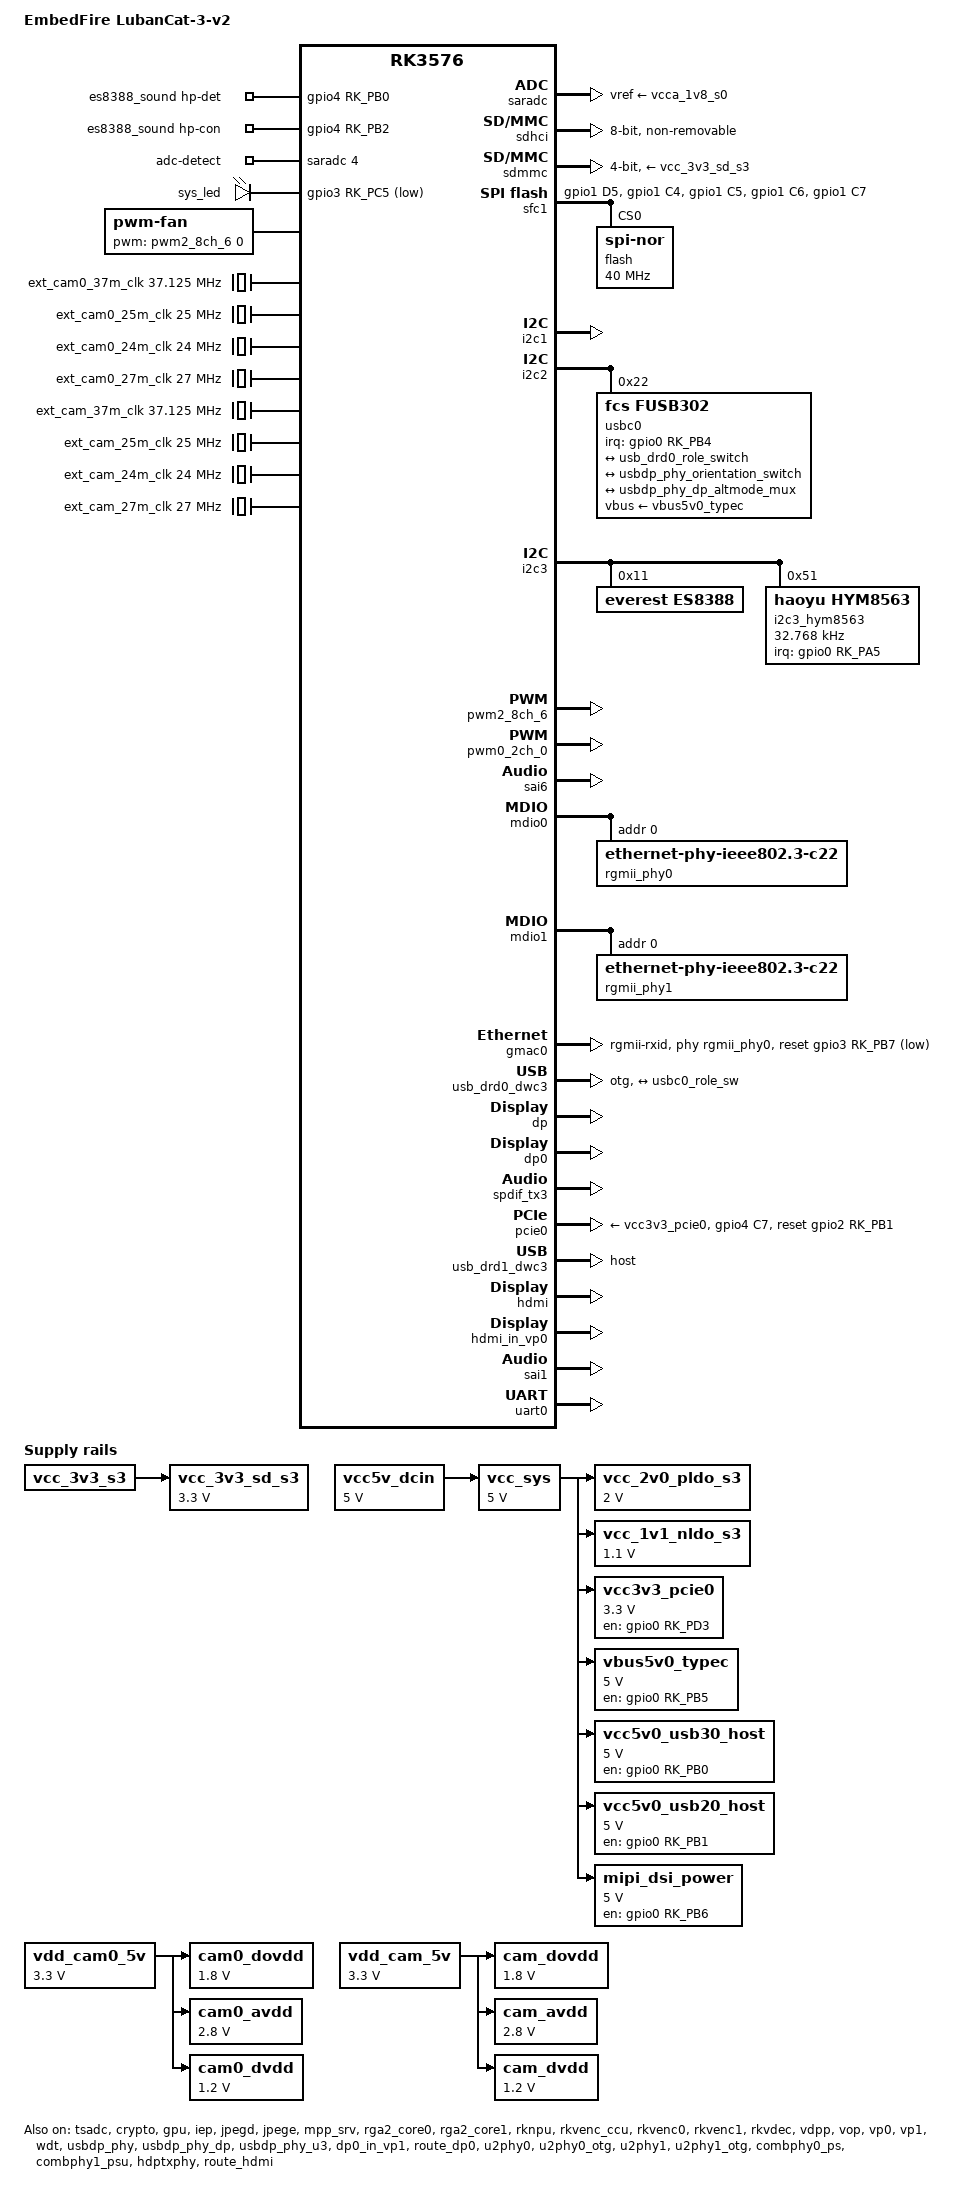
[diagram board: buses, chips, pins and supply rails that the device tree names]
// SPDX-License-Identifier: (GPL-2.0+ OR MIT)
/*
 * Copyright (c) 2026 Rockchip Electronics Co., Ltd.
 * Copyright (c) 2026 EmbedFire <embedfire@embedfire.com>
 *
 */

/dts-v1/;
#include <dt-bindings/usb/pd.h>
#include <dt-bindings/gpio/gpio.h>
#include <dt-bindings/pwm/pwm.h>
#include <dt-bindings/pinctrl/rockchip.h>
#include <dt-bindings/input/linux-event-codes.h>
#include <dt-bindings/display/drm_mipi_dsi.h>
#include <dt-bindings/display/rockchip_vop.h>
#include <dt-bindings/sensor-dev.h>
#include "rk3576.dtsi"
#include "rk3576-linux.dtsi"
#include "rk3576-rk806.dtsi"

/ {
	model = "EmbedFire LubanCat-3-v2";
	compatible = "embedfire,rk3576-lubancat-3-v2", "rockchip,rk3576";

	vcc5v_dcin: vcc5v-dcin {
		compatible = "regulator-fixed";
		regulator-name = "vcc5v_dcin";
		regulator-always-on;
		regulator-boot-on;
		regulator-min-microvolt = <5000000>;
		regulator-max-microvolt = <5000000>;
	};

	vcc_sys: vcc5v0-sys {
		compatible = "regulator-fixed";
		regulator-name = "vcc_sys";
		regulator-always-on;
		regulator-boot-on;
		regulator-min-microvolt = <5000000>;
		regulator-max-microvolt = <5000000>;
		vin-supply = <&vcc5v_dcin>;
	};

	vcc_2v0_pldo_s3: vcc-2v0-pldo-s3 {
		compatible = "regulator-fixed";
		regulator-name = "vcc_2v0_pldo_s3";
		regulator-boot-on;
		regulator-always-on;
		regulator-min-microvolt = <2000000>;
		regulator-max-microvolt = <2000000>;
		vin-supply = <&vcc_sys>;
	};

	vcc_1v1_nldo_s3: vcc-1v1-nldo-s3 {
		compatible = "regulator-fixed";
		regulator-name = "vcc_1v1_nldo_s3";
		regulator-boot-on;
		regulator-always-on;
		regulator-min-microvolt = <1100000>;
		regulator-max-microvolt = <1100000>;
		vin-supply = <&vcc_sys>;
	};

	vcc_3v3_sd_s3: vcc-3v3-sd-s3 {
		compatible = "regulator-fixed";
		regulator-name = "vcc_3v3_sd_s3";
		regulator-always-on;
		regulator-boot-on;
		regulator-min-microvolt = <3300000>;
		regulator-max-microvolt = <3300000>;
		vin-supply = <&vcc_3v3_s3>;
	};

	vcc3v3_pcie0: vcc3v3-pcie0 {
		compatible = "regulator-fixed";
		regulator-name = "vcc3v3_pcie0";
		regulator-min-microvolt = <3300000>;
		regulator-max-microvolt = <3300000>;
		enable-active-high;
		regulator-always-on;
		gpios = <&gpio0 RK_PD3 GPIO_ACTIVE_HIGH>;
		startup-delay-us = <5000>;
		vin-supply = <&vcc_sys>;
	};

	vbus5v0_typec: vbus5v0-typec {
		compatible = "regulator-fixed";
		regulator-name = "vbus5v0_typec";
		regulator-min-microvolt = <5000000>;
		regulator-max-microvolt = <5000000>;
		enable-active-high;
		gpio = <&gpio0 RK_PB5 GPIO_ACTIVE_HIGH>;
		vin-supply = <&vcc_sys>;
		pinctrl-names = "default";
		pinctrl-0 = <&typec_vbus_en>;
	};

	vcc5v0_usb30_host: vcc5v0-usb30-host {
		compatible = "regulator-fixed";
		regulator-name = "vcc5v0_usb30_host";
		regulator-min-microvolt = <5000000>;
		regulator-max-microvolt = <5000000>;
		regulator-always-on;
		regulator-boot-on;
		enable-active-high;
		gpio = <&gpio0 RK_PB0 GPIO_ACTIVE_HIGH>;
		vin-supply = <&vcc_sys>;
		pinctrl-names = "default";
		pinctrl-0 = <&usb30_host_pwr_en>;
	};

	vcc5v0_usb20_host: vcc5v0-usb20-host {
		compatible = "regulator-fixed";
		regulator-name = "vcc5v0_usb20_host";
		regulator-min-microvolt = <5000000>;
		regulator-max-microvolt = <5000000>;
		regulator-always-on;
		regulator-boot-on;
		enable-active-high;
		gpio = <&gpio0 RK_PB1 GPIO_ACTIVE_HIGH>;
		vin-supply = <&vcc_sys>;
		pinctrl-names = "default";
		pinctrl-0 = <&usb20_host_pwr_en>;
	};

	mipi_dsi_power: mipi-dsi-power {
		compatible = "regulator-fixed";
		regulator-name = "mipi_dsi_power";
		regulator-min-microvolt = <5000000>;
		regulator-max-microvolt = <5000000>;
		regulator-always-on;
		regulator-boot-on;
		enable-active-high;
		gpio = <&gpio0 RK_PB6 GPIO_ACTIVE_HIGH>;
		vin-supply = <&vcc_sys>;
		pinctrl-names = "default";
		pinctrl-0 = <&lcd_pwr_en>;
	};

	es8388_sound: es8388-sound {
		status = "okay";
		compatible = "rockchip,multicodecs-card";
		rockchip,card-name = "rockchip-es8388";
		hp-det-gpio = <&gpio4 RK_PB0 GPIO_ACTIVE_HIGH>;
		hp-con-gpio = <&gpio4 RK_PB2 GPIO_ACTIVE_HIGH>;
		io-channels = <&saradc 4>;
		io-channel-names = "adc-detect";
		keyup-threshold-microvolt = <1800000>;
		poll-interval = <100>;
		rockchip,format = "i2s";
		rockchip,mclk-fs = <256>;
		rockchip,cpu = <&sai1>;
		rockchip,codec = <&es8388>;
		rockchip,audio-routing =
			"Headphone", "LOUT1",
			"Headphone", "ROUT1",
			"Headphone", "Headphone Power",
			"Headphone", "Headphone Power",
			"LINPUT1", "Main Mic",
			"LINPUT2", "Main Mic",
			"RINPUT1", "Headset Mic",
			"RINPUT2", "Headset Mic";
		pinctrl-names = "default";
		pinctrl-0 = <&hp_det>;
		play-pause-key {
			label = "playpause";
			linux,code = <KEY_PLAYPAUSE>;
			press-threshold-microvolt = <2000>;
		};

		previous-song-key {
			label = "previoussong";
			linux,code = <KEY_PREVIOUSSONG>;
			press-threshold-microvolt = <145000>;
		};

		next-song-key {
			label = "nextsong";
			linux,code = <KEY_NEXTSONG>;
			press-threshold-microvolt = <290000>;
		};
	};

	hdmi_sound: hdmi-sound {
		compatible = "rockchip,hdmi";
		rockchip,mclk-fs = <128>;
		rockchip,card-name = "rockchip-hdmi";
		rockchip,cpu = <&sai6>;
		rockchip,codec = <&hdmi>;
		rockchip,jack-det;
	};

	dp0_sound: dp0-sound {
		compatible = "rockchip,hdmi";
		rockchip,mclk-fs = <512>;
		rockchip,card-name = "rockchip-dp0";
		rockchip,cpu = <&spdif_tx3>;
		rockchip,codec = <&dp0 1>;
		rockchip,jack-det;
	};

	leds: leds {
		status = "okay";
		compatible = "gpio-leds";

		sys_led: sys-led {
			label = "sys_led";
			linux,default-trigger = "heartbeat";
			default-state = "on";
			gpios = <&gpio3 RK_PC5 GPIO_ACTIVE_LOW>;
			pinctrl-names = "default";
			pinctrl-0 = <&sys_status_led_pin>;
		};
	};

	fan: pwm-fan {
		compatible = "pwm-fan";
		#cooling-cells = <2>;
		pwms = <&pwm2_8ch_6 0 5000 0>;
		cooling-levels = <0 100 150 200 255>;
		rockchip,temp-trips = <
			40000	1
			55000	2
			60000	3
			65000	4
		>;
	};

	test-power {
		status = "okay";
	};

	ext_cam0_37m_clk: external-camera0-37m-clock {
		compatible = "fixed-clock";
		clock-frequency = <37125000>;
		clock-output-names = "ext_cam0_37m_clk";
		#clock-cells = <0>;
	};

	ext_cam0_25m_clk: external-camera0-25m-clock {
		compatible = "fixed-clock";
		clock-frequency = <25000000>;
		clock-output-names = "ext_cam0_25m_clk";
		#clock-cells = <0>;
	};

	ext_cam0_24m_clk: external-camera0-24m-clock {
		compatible = "fixed-clock";
		#clock-cells = <0>;
		clock-frequency = <24000000>;
		clock-output-names = "ext_cam0_24m_clk";
	};

	ext_cam0_27m_clk: external-camera0-27m-clock {
		compatible = "fixed-clock";
		#clock-cells = <0>;
		clock-frequency = <27000000>;
		clock-output-names = "ext_cam0_27m_clk";
	};

	vdd_cam0_5v: vdd-cam0-5v-regulator {
		compatible = "regulator-fixed";
		regulator-name = "vdd_cam0_5v";
		regulator-always-on;
		regulator-boot-on;
		regulator-min-microvolt = <3300000>;
		regulator-max-microvolt = <3300000>;
	};

	cam0_dovdd: cam0-dovdd {
		compatible = "regulator-fixed";
		regulator-name = "cam0_dovdd";
		regulator-always-on;
		regulator-boot-on;
		regulator-min-microvolt = <1800000>;
		regulator-max-microvolt = <1800000>;
		vin-supply = <&vdd_cam0_5v>;
	};

	cam0_avdd: cam0-avdd {
		compatible = "regulator-fixed";
		regulator-name = "cam0_avdd";
		regulator-always-on;
		regulator-boot-on;
		regulator-min-microvolt = <2800000>;
		regulator-max-microvolt = <2800000>;
		vin-supply = <&vdd_cam0_5v>;
	};

	cam0_dvdd: cam0-dvdd {
		compatible = "regulator-fixed";
		regulator-name = "cam0_dvdd";
		regulator-always-on;
		regulator-boot-on;
		regulator-min-microvolt = <1200000>;
		regulator-max-microvolt = <1200000>;
		vin-supply = <&vdd_cam0_5v>;
	};

	ext_cam_37m_clk: external-camera-37m-clock {
		compatible = "fixed-clock";
		clock-frequency = <37125000>;
		clock-output-names = "ext_cam_37m_clk";
		#clock-cells = <0>;
	};

	ext_cam_25m_clk: external-camera-25m-clock {
		compatible = "fixed-clock";
		clock-frequency = <25000000>;
		clock-output-names = "ext_cam_25m_clk";
		#clock-cells = <0>;
	};

	ext_cam_24m_clk: external-camera-24m-clock {
		compatible = "fixed-clock";
		#clock-cells = <0>;
		clock-frequency = <24000000>;
		clock-output-names = "ext_cam_24m_clk";
	};

	ext_cam_27m_clk: external-camera-27m-clock {
		compatible = "fixed-clock";
		#clock-cells = <0>;
		clock-frequency = <27000000>;
		clock-output-names = "ext_cam_27m_clk";
	};

	vdd_cam_5v: vdd-cam-5v-regulator {
		compatible = "regulator-fixed";
		regulator-name = "vdd_cam_5v";
		regulator-always-on;
		regulator-boot-on;
		regulator-min-microvolt = <3300000>;
		regulator-max-microvolt = <3300000>;
	};

	cam_dovdd: cam-dovdd {
		compatible = "regulator-fixed";
		regulator-name = "cam_dovdd";
		regulator-always-on;
		regulator-boot-on;
		regulator-min-microvolt = <1800000>;
		regulator-max-microvolt = <1800000>;
		vin-supply = <&vdd_cam_5v>;
	};

	cam_avdd: cam-avdd {
		compatible = "regulator-fixed";
		regulator-name = "cam_avdd";
		regulator-always-on;
		regulator-boot-on;
		regulator-min-microvolt = <2800000>;
		regulator-max-microvolt = <2800000>;
		vin-supply = <&vdd_cam_5v>;
	};

	cam_dvdd: cam-dvdd {
		compatible = "regulator-fixed";
		regulator-name = "cam_dvdd";
		regulator-always-on;
		regulator-boot-on;
		regulator-min-microvolt = <1200000>;
		regulator-max-microvolt = <1200000>;
		vin-supply = <&vdd_cam_5v>;
	};
};

&saradc {
	status = "okay";
	vref-supply = <&vcca_1v8_s0>;
};

&tsadc {
	status = "okay";
};

&sdhci {
	bus-width = <8>;
	no-sdio;
	no-sd;
	non-removable;
	max-frequency = <200000000>;
	mmc-hs400-1_8v;
	mmc-hs400-enhanced-strobe;
	full-pwr-cycle-in-suspend;
	status = "okay";
};

&sdmmc {
	max-frequency = <200000000>;
	no-sdio;
	no-mmc;
	bus-width = <4>;
	cap-mmc-highspeed;
	cap-sd-highspeed;
	disable-wp;
	sd-uhs-sdr104;
	vmmc-supply = <&vcc_3v3_sd_s3>;
	vqmmc-supply = <&vccio_sd_s0>;
	pinctrl-names = "default";
	pinctrl-0 = <&sdmmc0_clk &sdmmc0_cmd &sdmmc0_det &sdmmc0_bus4>;
	status = "okay";
};

&sfc1 {
	status = "okay";
	pinctrl-names = "default";
	pinctrl-0 = <&fspi1m1_correct_pins &fspi1m1_csn0>;

	flash@0 {
		compatible = "jedec,spi-nor";
		reg = <0>;
		spi-max-frequency = <40000000>;
		spi-rx-bus-width = <4>;
		spi-tx-bus-width = <1>;
	};
};

&i2c1 {
	pinctrl-names = "default";
	pinctrl-0 = <&i2c1m0_xfer>;
	status = "okay";
};

&i2c2 {
	pinctrl-names = "default";
	pinctrl-0 = <&i2c2m0_xfer>;
	status = "okay";

	i2c2_hym8563: i2c2-hym8563@51 {
		compatible = "haoyu,hym8563";
		reg = <0x51>;
		#clock-cells = <0>;
		clock-frequency = <32768>;
		clock-output-names = "hym8563";
		pinctrl-names = "default";
		pinctrl-0 = <&hym8563_int>;
		interrupt-parent = <&gpio0>;
		interrupts = <RK_PA5 IRQ_TYPE_LEVEL_LOW>;
		wakeup-source;
	};

	usbc0: fusb302@22 {
		compatible = "fcs,fusb302";
		reg = <0x22>;
		interrupt-parent = <&gpio0>;
		interrupts = <RK_PB4 IRQ_TYPE_LEVEL_LOW>;
		pinctrl-names = "default";
		pinctrl-0 = <&fusb302_int>;
		vbus-supply = <&vbus5v0_typec>;
		status = "okay";

		ports {
			#address-cells = <1>;
			#size-cells = <0>;

			port@0 {
				reg = <0>;
				usbc0_role_sw: endpoint@0 {
					remote-endpoint = <&usb_drd0_role_switch>;
				};
			};
		};

		usb_con: connector {
			compatible = "usb-c-connector";
			label = "USB-C";
			data-role = "dual";
			power-role = "dual";
			try-power-role = "sink";
			op-sink-microwatt = <1000000>;
			sink-pdos =
				<PDO_FIXED(5000, 1000, PDO_FIXED_USB_COMM)>;
			source-pdos =
				<PDO_FIXED(5000, 3000, PDO_FIXED_USB_COMM)>;

			altmodes {
				#address-cells = <1>;
				#size-cells = <0>;

				altmode@0 {
					reg = <0>;
					svid = <0xff01>;
					vdo = <0xffffffff>;
				};
			};

			ports {
				#address-cells = <1>;
				#size-cells = <0>;

				port@0 {
					reg = <0>;
					usbc0_orien_sw: endpoint {
						remote-endpoint = <&usbdp_phy_orientation_switch>;
					};
				};

				port@1 {
					reg = <1>;
					dp_altmode_mux: endpoint {
						remote-endpoint = <&usbdp_phy_dp_altmode_mux>;
					};
				};
			};
		};
	};
};

&i2c3 {
	pinctrl-names = "default";
	pinctrl-0 = <&i2c3m0_xfer>;
	status = "okay";

	es8388: es8388@11 {
		status = "okay";
		#sound-dai-cells = <0>;
		compatible = "everest,es8388", "everest,es8323";
		reg = <0x11>;
		clocks = <&mclkout_sai1>;
		clock-names = "mclk";
		assigned-clocks = <&mclkout_sai1>;
		assigned-clock-rates = <12288000>;
		pinctrl-names = "default";
		pinctrl-0 = <&sai1m0_mclk>;
	};

	i2c3_hym8563: i2c3-hym8563@51 {
		compatible = "haoyu,hym8563";
		reg = <0x51>;
		#clock-cells = <0>;
		clock-frequency = <32768>;
		clock-output-names = "hym8563";
		pinctrl-names = "default";
		pinctrl-0 = <&hym8563_int>;
		interrupt-parent = <&gpio0>;
		interrupts = <RK_PA5 IRQ_TYPE_LEVEL_LOW>;
		wakeup-source;
	};

	dw9714_0: dw9714-0@c {
		status = "disabled";
		compatible = "dongwoon,dw9714";
		reg = <0xc>;
		rockchip,camera-module-index = <0>;
		rockchip,vcm-max-current = <100>;
		rockchip,vcm-start-current = <0>;
		rockchip,vcm-rated-current = <100>;
		rockchip,vcm-step-mode = <0xd>;
		rockchip,vcm-dlc-enable = <0>;
		rockchip,vcm-mclk = <0>;
		rockchip,vcm-t-src = <0>;
		rockchip,camera-module-facing = "back";
	};

	imx415_0: imx415@1a {
		compatible = "sony,imx415";
		status = "disabled";
		reg = <0x1a>;
		clocks = <&ext_cam0_37m_clk>;
		clock-names = "xvclk";
		avdd-supply = <&cam0_avdd>;
		dovdd-supply = <&cam0_dovdd>;
		dvdd-supply = <&cam0_dvdd>;
		reset-gpios = <&gpio1 RK_PD3 GPIO_ACTIVE_LOW>;

		rockchip,camera-module-index = <0>;
		rockchip,camera-module-facing = "back";
		rockchip,camera-module-name = "CMK-OT2022-PX1";
		rockchip,camera-module-lens-name = "IR0147-50IRC-8M-F20";
		port {
			imx415_out0: endpoint {
				remote-endpoint = <&dcphy0_in_imx415>;
				data-lanes = <1 2 3 4>;
			};
		};
	};

	ov5647_0: ov5647-0@36 {
		compatible = "ovti,ov5647";
		status = "disabled";
		reg = <0x36>;
		clocks = <&ext_cam0_25m_clk>;
		clock-names = "ext_cam_25m_clk";
		pwdn-gpios = <&gpio1 RK_PD2 GPIO_ACTIVE_HIGH>;
		lens-focus = <&dw9714_0>;

		port {
			ov5647_out0: endpoint {
			remote-endpoint = <&dcphy0_in_ov5647>;
			data-lanes = <1 2>;
			};
		};
	};

	ov5648_0: ov5648-0@36 {
		compatible = "ovti,ov5648";
		status = "disabled";
		reg = <0x36>;
		clocks = <&ext_cam0_24m_clk>;
		clock-names = "xvclk";
		dovdd-supply= <&cam0_dovdd>;
		avdd-supply = <&cam0_avdd>;
		dvdd-supply = <&cam0_dvdd>;
		reset-gpios = <&gpio1 RK_PD3 GPIO_ACTIVE_LOW>;
		pwdn-gpios = <&gpio1 RK_PD2 GPIO_ACTIVE_HIGH>;
		rotation = <180>;

		rockchip,camera-module-index = <0>;
		rockchip,camera-module-facing = "back";
		rockchip,camera-module-name = "THDS11073";
		rockchip,camera-module-lens-name = "Largan-40122a1";
		lens-focus = <&dw9714_0>;

		port {
			ov5648_out0: endpoint {
				remote-endpoint = <&dcphy0_in_ov5648>;
				clock-lanes = <0>;
				data-lanes = <1 2>;
			};
		};
	};

	ov8858_0: ov8858-0@36 {
		compatible = "ovti,ov8858";
		status = "disabled";
		reg = <0x36>;
		clocks = <&ext_cam0_24m_clk>;
		clock-names = "xvclk";
		dovdd-supply= <&cam0_dovdd>;
		avdd-supply = <&cam0_avdd>;
		dvdd-supply = <&cam0_dvdd>;
		reset-gpios = <&gpio1 RK_PD3 GPIO_ACTIVE_LOW>;
		pwdn-gpios = <&gpio1 RK_PD2 GPIO_ACTIVE_HIGH>;
		rotation = <180>;

		rockchip,camera-module-index = <0>;
		rockchip,camera-module-facing = "back";
		rockchip,camera-module-name = "HS5885-BNSM1018-V01";
		rockchip,camera-module-lens-name = "default";
		lens-focus = <&dw9714_0>;
		port {
			ov8858_out0: endpoint {
				remote-endpoint = <&dcphy0_in_ov8858>;
				clock-lanes = <0>;
				data-lanes = <1 2>;
			};
		};
	};

	sc530ai_0: sc530ai-0@30 {
		compatible = "smartsens,sc530ai";
		status = "disabled";
		reg = <0x30>;
		clocks = <&ext_cam0_24m_clk>;
		clock-names = "xvclk";
		reset-gpios = <&gpio1 RK_PD3 GPIO_ACTIVE_LOW>;
		pwdn-gpios = <&gpio1 RK_PD2 GPIO_ACTIVE_HIGH>;
		rockchip,camera-module-index = <0>;
		rockchip,camera-module-facing = "back";
		rockchip,camera-module-name = "CMK-OT2115-PC1";
		rockchip,camera-module-lens-name = "30IRC-F16";
		rotation = <180>;

		port {
			sc530ai_out0: endpoint {
				remote-endpoint = <&dcphy0_in_sc530ai>;
				data-lanes = <1 2 3 4>;
			};
		};
	};

	gc08a8_0: gc08a8-0@31 {
		compatible = "galaxycore,gc08a8";
		status = "disabled";
		reg = <0x31>;
		clocks = <&ext_cam0_24m_clk>;
		clock-names = "xvclk";
		dovdd-supply= <&cam0_dovdd>;
		avdd-supply = <&cam0_avdd>;
		dvdd-supply = <&cam0_dvdd>;
		reset-gpios = <&gpio1 RK_PD3 GPIO_ACTIVE_LOW>;
		pwdn-gpios = <&gpio1 RK_PD2 GPIO_ACTIVE_HIGH>;
		rockchip,camera-module-index = <0>;
		rockchip,camera-module-facing = "back";
		rockchip,camera-module-name = "YT10120";
		rockchip,camera-module-lens-name = "30IRC-4M-F20";

		port {
			gc08a8_out0: endpoint {
				remote-endpoint = <&dcphy0_in_gc08a8>;
				data-lanes = <1 2>;
			};
		};
	};

	gc2053_0: gc2053-0@37 {
		compatible = "galaxycore,gc2053";
		status = "disabled";
		reg = <0x37>;
		clocks = <&ext_cam0_24m_clk>;
		clock-names = "xvclk";
		dovdd-supply= <&cam0_dovdd>;
		avdd-supply = <&cam0_avdd>;
		dvdd-supply = <&cam0_dvdd>;
		reset-gpios = <&gpio1 RK_PD3 GPIO_ACTIVE_LOW>;
		pwdn-gpios = <&gpio1 RK_PD2 GPIO_ACTIVE_LOW>;
		rockchip,camera-module-index = <0>;
		rockchip,camera-module-facing = "back";
		rockchip,camera-module-name = "SIDA205300461";
		rockchip,camera-module-lens-name = "60IRC-F20";

		port {
			gc2053_out0: endpoint {
				remote-endpoint = <&dcphy0_in_gc2053>;
				data-lanes = <1 2>;
			};
		};
	};

	gc4653_0: gc4653-0@29 {
		compatible = "galaxycore,gc4653";
		status = "disabled";
		reg = <0x29>;
		clocks = <&ext_cam0_24m_clk>;
		clock-names = "xvclk";
		dovdd-supply= <&cam0_dovdd>;
		avdd-supply = <&cam0_avdd>;
		dvdd-supply = <&cam0_dvdd>;
		reset-gpios = <&gpio1 RK_PD3 GPIO_ACTIVE_HIGH>;
		pwdn-gpios = <&gpio1 RK_PD2 GPIO_ACTIVE_HIGH>;
		rockchip,camera-module-index = <0>;
		rockchip,camera-module-facing = "back";
		rockchip,camera-module-name = "YT10120";
		rockchip,camera-module-lens-name = "30IRC-4M-F20";

		port {
			gc4653_out0: endpoint {
				remote-endpoint = <&dcphy0_in_gc4653>;
				data-lanes = <1 2>;
			};
		};
	};
};

&pwm2_8ch_6 {
	status = "okay";
	pinctrl-0 = <&pwm2m0_ch6>;
};

&pwm0_2ch_0 {
	compatible = "rockchip,remotectl-pwm-v4";
	pinctrl-names = "default";
	pinctrl-0 = <&pwm0m0_ch0>;
	remote_pwm_id = <0>;
	handle_cpu_id = <1>;
	remote_support_psci = <0>;
	status = "okay";

	ir_key_lubancat{
		rockchip,usercode = <0xff00>;
		rockchip,key_table =
			<0xba   KEY_POWER>,
			<0xb8   KEY_MENU>,
			<0xbc   KEY_BACK>,
			<0xbb   KEY_HOME>,
			<0xea   KEY_PLAY>,
			<0xbf   KEY_VOLUMEUP>,
			<0xe6   KEY_VOLUMEDOWN>,
			<0xf6   KEY_FASTFORWARD>,
			<0xf8   KEY_FASTREVERSE>,
			<0xf2   KEY_BACKSPACE>,
			<0xf3   KEY_1>,
			<0xe7   KEY_2>,
			<0xa1   KEY_3>,
			<0xf7   KEY_4>,
			<0xe3   KEY_5>,
			<0xa5   KEY_6>,
			<0xbd   KEY_7>,
			<0xad   KEY_8>,
			<0xb5   KEY_9>,
			<0xe9   KEY_0>;
	};

	ir_key1 {
		rockchip,usercode = <0x4040>;
		rockchip,key_table =
			<0xf2	KEY_REPLY>,
			<0xba	KEY_BACK>,
			<0xf4	KEY_UP>,
			<0xf1	KEY_DOWN>,
			<0xef	KEY_LEFT>,
			<0xee	KEY_RIGHT>,
			<0xbd	KEY_HOME>,
			<0xea	KEY_VOLUMEUP>,
			<0xe3	KEY_VOLUMEDOWN>,
			<0xe2	KEY_SEARCH>,
			<0xb2	KEY_POWER>,
			<0xbc	KEY_MUTE>,
			<0xec	KEY_MENU>,
			<0xbf	0x190>,
			<0xe0	0x191>,
			<0xe1	0x192>,
			<0xe9	183>,
			<0xe6	248>,
			<0xe8	185>,
			<0xe7	186>,
			<0xf0	388>,
			<0xbe	0x175>;
	};
};

&cpu_l0 {
	cpu-supply = <&vdd_cpu_lit_s0>;
};

&cpu_b0 {
	cpu-supply = <&vdd_cpu_big_s0>;
};

&crypto {
	status = "okay";
};

&gpu {
	mali-supply = <&vdd_gpu_s0>;
	status = "okay";
};

&iep {
	status = "okay";
};

&iep_mmu {
	status = "okay";
};

&jpegd {
	status = "okay";
};

&jpege {
	status = "okay";
};

&jpeg_mmu {
	status = "okay";
};

&mpp_srv {
	status = "okay";
};

&rga2_core0 {
	status = "okay";
};

&rga2_core0_mmu {
	status = "okay";
};

&rga2_core1 {
	status = "okay";
};

&rga2_core1_mmu {
	status = "okay";
};

&rknpu {
	rknpu-supply = <&vdd_npu_s0>;
	status = "okay";
};

&rknpu_mmu {
	status = "okay";
};

&rkvenc_ccu {
	status = "okay";
};

&rkvenc0 {
	status = "okay";
};

&rkvenc0_mmu {
	status = "okay";
};

&rkvenc1 {
	status = "okay";
};

&rkvenc1_mmu {
	status = "okay";

};

&rkvdec {
	status = "okay";
};

&rkvdec_mmu {
	status = "okay";
};

&rockchip_suspend {
	status = "okay";
	rockchip,sleep-debug-en = <1>;

	rockchip,sleep-io-ret-config = <
		(0
		| RKPM_VCCIO3_RET_EN
		)
	>;

	rockchip,regulator-on-before-mem = <&vdd_npu_s0>;
};

&sai6 {
	status = "okay";
};

&vdpp {
	status = "okay";
};

&vop {
	status = "okay";
	vop-supply = <&vdd_logic_s0>;
};

&vop_mmu {
	status = "okay";
};

&vp0 {
	rockchip,plane-mask = <(1 << ROCKCHIP_VOP2_CLUSTER0 | 1 << ROCKCHIP_VOP2_ESMART0)>;
	rockchip,primary-plane = <ROCKCHIP_VOP2_ESMART0>;
	cursor-win-id = <ROCKCHIP_VOP2_CLUSTER0>;
};

&vp1 {
	rockchip,plane-mask = <(1 << ROCKCHIP_VOP2_CLUSTER1 | 1 << ROCKCHIP_VOP2_ESMART1)>;
	rockchip,primary-plane = <ROCKCHIP_VOP2_ESMART1>;
	cursor-win-id = <ROCKCHIP_VOP2_CLUSTER1>;
};

&vp2 {
	rockchip,plane-mask = <(1 << ROCKCHIP_VOP2_ESMART2 | 1 << ROCKCHIP_VOP2_ESMART3)>;
	rockchip,primary-plane = <ROCKCHIP_VOP2_ESMART2>;
	cursor-win-id = <ROCKCHIP_VOP2_ESMART3>;
};

&vp2 {
	esmart_lb_mode = /bits/ 8 <5>;
};

&mdio0 {
	rgmii_phy0: phy@0 {
		compatible = "ethernet-phy-ieee802.3-c22";
		reg = <0x0>;
		clocks = <&cru REFCLKO25M_GMAC0_OUT>;

		realtek,led-data = <0x6d60>;
	};
};

&mdio1 {
	rgmii_phy1: phy@0 {
		compatible = "ethernet-phy-ieee802.3-c22";
		reg = <0x0>;
		clocks = <&cru REFCLKO25M_GMAC1_OUT>;

		realtek,led-data = <0x6d60>;
	};
};

&gmac0 {
	phy-mode = "rgmii-rxid";
	clock_in_out = "output";

	snps,reset-gpio = <&gpio3 RK_PB7 GPIO_ACTIVE_LOW>;
	snps,reset-active-low;
	snps,reset-delays-us = <0 20000 100000>;

	pinctrl-names = "default";
	pinctrl-0 = <&eth0m0_miim
			&eth0m0_tx_bus2
			&eth0m0_rx_bus2
			&eth0m0_rgmii_clk
			&eth0m0_rgmii_bus
			&eth0m0_mclk>;

	tx_delay = <0x05>;
	rx_delay = <0x05>;

	phy-handle = <&rgmii_phy0>;
	status = "okay";
};

&gmac1 {
	phy-mode = "rgmii-rxid";
	clock_in_out = "output";

	snps,reset-gpio = <&gpio2 RK_PD6 GPIO_ACTIVE_LOW>;
	snps,reset-active-low;
	snps,reset-delays-us = <0 20000 100000>;

	pinctrl-names = "default";
	pinctrl-0 = <&eth1m0_miim
			&eth1m0_tx_bus2
			&eth1m0_rx_bus2
			&eth1m0_rgmii_clk
			&eth1m0_rgmii_bus
			&eth1m0_mclk>;

	tx_delay = <0x20>;
	rx_delay = <0x01>;

	phy-handle = <&rgmii_phy1>;
	status = "disabled";
};

&wdt {
	status = "okay";
};

&usbdp_phy {
	orientation-switch;
	svid = <0xff01>;
	sbu1-dc-gpios = <&gpio4 RK_PC4 GPIO_ACTIVE_HIGH>;
	sbu2-dc-gpios = <&gpio4 RK_PC5 GPIO_ACTIVE_HIGH>;
	status = "okay";

	port {
		#address-cells = <1>;
		#size-cells = <0>;

		usbdp_phy_orientation_switch: endpoint@0 {
			reg = <0>;
			remote-endpoint = <&usbc0_orien_sw>;
		};

		usbdp_phy_dp_altmode_mux: endpoint@1 {
			reg = <1>;
			remote-endpoint = <&dp_altmode_mux>;
		};
	};
};

&usbdp_phy_dp {
	status = "okay";
};

&usbdp_phy_u3 {
	status = "okay";
};

&usb_drd0_dwc3 {
	dr_mode = "otg";
	usb-role-switch;
	status = "okay";
	snps,parkmode-disable-hs-quirk;
	snps,parkmode-disable-ss-quirk;
	snps,dis_u3_susphy_quirk;
	snps,dis_u2_susphy_quirk;
	port {
		usb_drd0_role_switch: endpoint {
			remote-endpoint = <&usbc0_role_sw>;
		};
	};
};

&dp {
	status = "okay";
};

&dp0 {
	status = "okay";
};

&dp0_in_vp0 {
	status = "disabled";
};

&dp0_in_vp1 {
	status = "okay";
};

&dp0_in_vp2 {
	status = "disabled";
};

&vp1 {
	status = "okay";
};

&route_dp0 {
	status = "okay";
	connect = <&vp1_out_dp0>;
};

&dp0_sound {
	status = "okay";
};

&spdif_tx3 {
	status = "okay";
};

&u2phy0 {
	status = "okay";
};

&u2phy0_otg {
	rockchip,typec-vbus-det;
	status = "okay";
};

&u2phy1 {
	status = "okay";
};

&u2phy1_otg {
	phy-supply = <&vcc5v0_usb20_host>;
	dr_mode = "host";
	status = "okay";
};

&combphy0_ps {
	status = "okay";
};

&pcie0 {
	reset-gpios = <&gpio2 RK_PB1 GPIO_ACTIVE_HIGH>;
	disable-gpios = <&gpio4 RK_PC7 GPIO_ACTIVE_HIGH>;
	vpcie3v3-supply = <&vcc3v3_pcie0>;
	pinctrl-names = "default";
	pinctrl-0 = <&pcie_disable_gpio>;
	status = "okay";
};

&sata0 {
	vpcie3v3-supply = <&vcc3v3_pcie0>;
	status = "disabled";
};

&combphy1_psu {
	status = "okay";
};

&usb_drd1_dwc3 {
	dr_mode = "host";
	status = "okay";
	snps,parkmode-disable-hs-quirk;
	snps,parkmode-disable-ss-quirk;
	snps,dis_u3_susphy_quirk;
	snps,dis_u2_susphy_quirk;
};

&display_subsystem {
	clocks = <&hdptxphy>;
	clock-names = "hdmi0_phy_pll";
};

&hdmi {
	enable-gpios = <&gpio4 RK_PC6 GPIO_ACTIVE_HIGH>;
	cec-enable = "true";
	rockchip,sda-falling-delay-ns = <360>;
	status = "okay";
};

&vp0 {
	status = "okay";
};

&hdmi_in_vp0 {
	status = "okay";
};

&hdmi_in_vp1 {
	status = "disabled";
};

&hdmi_in_vp2 {
	status = "disabled";
};

&hdmi_in_vopl {
	status = "disabled";
};

&hdptxphy {
	status = "okay";
};

&route_hdmi {
	status = "okay";
	connect = <&vp0_out_hdmi>;
};

&hdmi_sound {
	status = "okay";
};

&sai1 {
	status = "okay";
	rockchip,sai-tx-route = <2 1 0 3>;
	pinctrl-names = "default";
	pinctrl-0 = <&sai1m0_lrck
			&sai1m0_sclk
			&sai1m0_sdi0
			&sai1m0_sdo2>;
};

&pinctrl {
	leds {
		sys_status_led_pin: sys-status-led-pin {
			rockchip,pins = <3 RK_PC5 RK_FUNC_GPIO &pcfg_pull_none>;
		};
	};

	hym8563 {
		hym8563_int: hym8563-int {
			rockchip,pins = <0 RK_PA5 RK_FUNC_GPIO &pcfg_pull_up>;
		};
	};

	usb-typec {
		fusb302_int: fusb302-int {
			rockchip,pins = <0 RK_PB4 RK_FUNC_GPIO &pcfg_pull_up>;
		};

		typec_vbus_en: typec-vbus-en {
			rockchip,pins = <0 RK_PB5 RK_FUNC_GPIO &pcfg_pull_none>;
		};
	};

	usb-host {
		usb30_host_pwr_en: usb30-host-pwr-en {
			rockchip,pins = <0 RK_PB0 RK_FUNC_GPIO &pcfg_pull_none>;
		};
		usb20_host_pwr_en: usb20-host-pwr-en {
			rockchip,pins = <0 RK_PB1 RK_FUNC_GPIO &pcfg_pull_none>;
		};
	};

	mipi-dsi {
		lcd_pwr_en: lcd-pwr-en {
			rockchip,pins = <0 RK_PB6 RK_FUNC_GPIO &pcfg_pull_none>;
		};
	};

	headphone {
		hp_det: hp-det {
			rockchip,pins = <4 RK_PB0 RK_FUNC_GPIO &pcfg_pull_up>;
		};
	};

	pcie {
		pcie_disable_gpio: pcie-disable-gpio {
			rockchip,pins = <4 RK_PC7 RK_FUNC_GPIO &pcfg_pull_up>;
		};
	};

	fspi1m1_correct {
		fspi1m1_correct_pins: fspi1m1-correct-pins {
			rockchip,pins =
				<1 RK_PD5 3 &pcfg_pull_none>,
				<1 RK_PC4 3 &pcfg_pull_none>,
				<1 RK_PC5 3 &pcfg_pull_none>,
				<1 RK_PC6 3 &pcfg_pull_none>,
				<1 RK_PC7 3 &pcfg_pull_none>;
		};
	};
};

&i2c2_hym8563 {
	status = "disabled";
};

&csi2_dcphy0 {
	status = "disabled";

	ports {
		#address-cells = <1>;
		#size-cells = <0>;
		port@0 {
			reg = <0>;
			#address-cells = <1>;
			#size-cells = <0>;

			dcphy0_in_imx415: endpoint@1 {
				reg = <1>;
				remote-endpoint = <&imx415_out0>;
				data-lanes = <1 2 3 4>;
			};

			dcphy0_in_ov5647: endpoint@2 {
				reg = <2>;
				remote-endpoint = <&ov5647_out0>;
				data-lanes = <1 2>;
			};

			dcphy0_in_ov5648: endpoint@3 {
				reg = <3>;
				remote-endpoint = <&ov5648_out0>;
				data-lanes = <1 2>;
			};

			dcphy0_in_ov8858: endpoint@4 {
				reg = <4>;
				remote-endpoint = <&ov8858_out0>;
				data-lanes = <1 2>;
			};

			dcphy0_in_sc530ai: endpoint@5 {
				reg = <5>;
				remote-endpoint = <&sc530ai_out0>;
				data-lanes = <1 2 3 4>;
			};

			dcphy0_in_gc08a8: endpoint@6 {
				reg = <6>;
				remote-endpoint = <&gc08a8_out0>;
				data-lanes = <1 2>;
			};

			dcphy0_in_gc2053: endpoint@7 {
				reg = <7>;
				remote-endpoint = <&gc2053_out0>;
				data-lanes = <1 2>;
			};

			dcphy0_in_gc4653: endpoint@8 {
				reg = <8>;
				remote-endpoint = <&gc4653_out0>;
				data-lanes = <1 2>;
			};
		};
		port@1 {
			reg = <1>;
			#address-cells = <1>;
			#size-cells = <0>;

			csidcphy0_out: endpoint@0 {
				reg = <0>;
				remote-endpoint = <&mipi0_csi2_input>;
			};
		};
	};
};

&csi2_dphy1 {
	status = "disabled";

	ports {
		#address-cells = <1>;
		#size-cells = <0>;
		port@0 {
			reg = <0>;
			#address-cells = <1>;
			#size-cells = <0>;

			dphy1_in_imx415: endpoint@1 {
				reg = <1>;
				remote-endpoint = <&imx415_dphy1_out>;
				data-lanes = <1 2>;
			};

			dphy1_in_ov8858: endpoint@2 {
				reg = <2>;
				remote-endpoint = <&ov8858_dphy1_out>;
				data-lanes = <1 2>;
			};

			dphy1_in_gc08a8: endpoint@3 {
				reg = <3>;
				remote-endpoint = <&gc08a8_dphy1_out>;
				data-lanes = <1 2>;
			};

			dphy1_in_gc2053: endpoint@4 {
				reg = <4>;
				remote-endpoint = <&gc2053_dphy1_out>;
				data-lanes = <1 2>;
			};

			dphy1_in_gc4653: endpoint@5 {
				reg = <5>;
				remote-endpoint = <&gc4653_dphy1_out>;
				data-lanes = <1 2>;
			};
		};
		port@1 {
			reg = <1>;
			#address-cells = <1>;
			#size-cells = <0>;

			csidphy1_out: endpoint@0 {
				reg = <0>;
				remote-endpoint = <&mipi1_csi2_input>;
			};
		};
	};
};

&csi2_dphy2 {
	status = "disabled";

	ports {
		#address-cells = <1>;
		#size-cells = <0>;
		port@0 {
			reg = <0>;
			#address-cells = <1>;
			#size-cells = <0>;

			dphy2_in_imx415: endpoint@1 {
				reg = <1>;
				remote-endpoint = <&imx415_dphy2_out>;
				data-lanes = <1 2>;
			};

			dphy2_in_ov8858: endpoint@2 {
				reg = <2>;
				remote-endpoint = <&ov8858_dphy2_out>;
				data-lanes = <1 2>;
			};

			dphy2_in_gc08a8: endpoint@3 {
				reg = <3>;
				remote-endpoint = <&gc08a8_dphy2_out>;
				data-lanes = <1 2>;
			};

			dphy2_in_gc2053: endpoint@4 {
				reg = <4>;
				remote-endpoint = <&gc2053_dphy2_out>;
				data-lanes = <1 2>;
			};

			dphy2_in_gc4653: endpoint@5 {
				reg = <5>;
				remote-endpoint = <&gc4653_dphy2_out>;
				data-lanes = <1 2>;
			};
		};
		port@1 {
			reg = <1>;
			#address-cells = <1>;
			#size-cells = <0>;

			csidphy2_out: endpoint@0 {
				reg = <0>;
				remote-endpoint = <&mipi2_csi2_input>;
			};
		};
	};
};

&csi2_dphy3 {
	status = "disabled";

	ports {
		#address-cells = <1>;
		#size-cells = <0>;
		port@0 {
			reg = <0>;
			#address-cells = <1>;
			#size-cells = <0>;

			dphy3_in_imx415: endpoint@1 {
				reg = <1>;
				remote-endpoint = <&imx415_dphy3_out>;
				data-lanes = <1 2>;
			};

			dphy3_in_ov8858: endpoint@2 {
				reg = <2>;
				remote-endpoint = <&ov8858_dphy3_out>;
				data-lanes = <1 2>;
			};

			dphy3_in_gc08a8: endpoint@3 {
				reg = <3>;
				remote-endpoint = <&gc08a8_dphy3_out>;
				data-lanes = <1 2>;
			};

			dphy3_in_gc2053: endpoint@4 {
				reg = <4>;
				remote-endpoint = <&gc2053_dphy3_out>;
				data-lanes = <1 2>;
			};

			dphy3_in_gc4653: endpoint@5 {
				reg = <5>;
				remote-endpoint = <&gc4653_dphy3_out>;
				data-lanes = <1 2>;
			};
		};
		port@1 {
			reg = <1>;
			#address-cells = <1>;
			#size-cells = <0>;

			csidphy3_out: endpoint@0 {
				reg = <0>;
				remote-endpoint = <&mipi3_csi2_input>;
			};
		};
	};
};

&csi2_dphy4 {
	status = "disabled";

	ports {
		#address-cells = <1>;
		#size-cells = <0>;
		port@0 {
			reg = <0>;
			#address-cells = <1>;
			#size-cells = <0>;

			dphy4_in_imx415: endpoint@1 {
				reg = <1>;
				remote-endpoint = <&imx415_dphy4_out>;
				data-lanes = <1 2>;
			};

			dphy4_in_ov8858: endpoint@2 {
				reg = <2>;
				remote-endpoint = <&ov8858_dphy4_out>;
				data-lanes = <1 2>;
			};

			dphy4_in_gc08a8: endpoint@3 {
				reg = <3>;
				remote-endpoint = <&gc08a8_dphy4_out>;
				data-lanes = <1 2>;
			};

			dphy4_in_gc2053: endpoint@4 {
				reg = <4>;
				remote-endpoint = <&gc2053_dphy4_out>;
				data-lanes = <1 2>;
			};

			dphy4_in_gc4653: endpoint@5 {
				reg = <5>;
				remote-endpoint = <&gc4653_dphy4_out>;
				data-lanes = <1 2>;
			};
		};
		port@1 {
			reg = <1>;
			#address-cells = <1>;
			#size-cells = <0>;

			csidphy4_out: endpoint@0 {
				reg = <0>;
				remote-endpoint = <&mipi4_csi2_input>;
			};
		};
	};
};

&i2c4 {
	status = "disabled";
	pinctrl-0 = <&i2c4m2_xfer>;

	dw9714_1: dw9714-1@c {
		status = "okay";
		compatible = "dongwoon,dw9714";
		reg = <0xc>;
		rockchip,camera-module-index = <1>;
		rockchip,vcm-max-current = <100>;
		rockchip,vcm-start-current = <0>;
		rockchip,vcm-rated-current = <100>;
		rockchip,vcm-step-mode = <0xd>;
		rockchip,vcm-dlc-enable = <0>;
		rockchip,vcm-mclk = <0>;
		rockchip,vcm-t-src = <0>;
		rockchip,camera-module-facing = "back";
	};

	dcphy1_imx415: dcphy1-imx415@1a {
		compatible = "sony,imx415";
		status = "disabled";
		reg = <0x1a>;
		clocks = <&ext_cam_37m_clk>;
		clock-names = "xvclk";
		power-domains = <&power RK3576_PD_VI>;
		avdd-supply = <&cam_avdd>;
		dovdd-supply = <&cam_dovdd>;
		dvdd-supply = <&cam_dvdd>;
		reset-gpios = <&gpio2 RK_PB3 GPIO_ACTIVE_LOW>;

		rockchip,camera-module-index = <1>;
		rockchip,camera-module-facing = "back";
		rockchip,camera-module-name = "CMK-OT2022-PX1";
		rockchip,camera-module-lens-name = "IR0147-50IRC-8M-F20";
		port {
			imx415_dphy1_out: endpoint {
				remote-endpoint = <&dphy1_in_imx415>;
				data-lanes = <1 2>;
			};
		};
	};

	ov8858_1: ov8858-1@36 {
		compatible = "ovti,ov8858";
		status = "disabled";
		reg = <0x36>;
		clocks = <&ext_cam_24m_clk>;
		clock-names = "xvclk";
		dovdd-supply= <&cam_dovdd>;
		avdd-supply = <&cam_avdd>;
		dvdd-supply = <&cam_dvdd>;
		reset-gpios = <&gpio2 RK_PB3 GPIO_ACTIVE_LOW>;
		pwdn-gpios = <&gpio2 RK_PB0 GPIO_ACTIVE_HIGH>;
		rotation = <180>;

		rockchip,camera-module-index = <1>;
		rockchip,camera-module-facing = "back";
		rockchip,camera-module-name = "HS5885-BNSM1018-V01";
		rockchip,camera-module-lens-name = "default";
		lens-focus = <&dw9714_1>;
		port {
			ov8858_dphy1_out: endpoint {
				remote-endpoint = <&dphy1_in_ov8858>;
				clock-lanes = <0>;
				data-lanes = <1 2>;
			};
		};
	};

	gc08a8_1: gc08a8-1@31 {
		compatible = "galaxycore,gc08a8";
		status = "disabled";
		reg = <0x31>;
		clocks = <&ext_cam_24m_clk>;
		clock-names = "xvclk";
		dovdd-supply= <&cam_dovdd>;
		avdd-supply = <&cam_avdd>;
		dvdd-supply = <&cam_dvdd>;
		reset-gpios = <&gpio2 RK_PB3 GPIO_ACTIVE_LOW>;
		pwdn-gpios = <&gpio2 RK_PB0 GPIO_ACTIVE_HIGH>;
		rockchip,camera-module-index = <1>;
		rockchip,camera-module-facing = "back";
		rockchip,camera-module-name = "YT10120";
		rockchip,camera-module-lens-name = "30IRC-4M-F20";

		port {
			gc08a8_dphy1_out: endpoint {
				remote-endpoint = <&dphy1_in_gc08a8>;
				data-lanes = <1 2>;
			};
		};
	};

	gc2053_1: gc2053-1@37 {
		compatible = "galaxycore,gc2053";
		status = "disabled";
		reg = <0x37>;
		clocks = <&ext_cam_24m_clk>;
		clock-names = "xvclk";
		dovdd-supply= <&cam_dovdd>;
		avdd-supply = <&cam_avdd>;
		dvdd-supply = <&cam_dvdd>;
		reset-gpios = <&gpio2 RK_PB3 GPIO_ACTIVE_LOW>;
		pwdn-gpios = <&gpio2 RK_PB0 GPIO_ACTIVE_LOW>;
		rockchip,camera-module-index = <1>;
		rockchip,camera-module-facing = "back";
		rockchip,camera-module-name = "SIDA205300461";
		rockchip,camera-module-lens-name = "60IRC-F20";

		port {
			gc2053_dphy1_out: endpoint {
				remote-endpoint = <&dphy1_in_gc2053>;
				data-lanes = <1 2>;
			};
		};
	};

	gc4653_1: gc4653-1@29 {
		compatible = "galaxycore,gc4653";
		status = "disabled";
		reg = <0x29>;
		clocks = <&ext_cam_24m_clk>;
		clock-names = "xvclk";
		dovdd-supply= <&cam_dovdd>;
		avdd-supply = <&cam_avdd>;
		dvdd-supply = <&cam_dvdd>;
		reset-gpios = <&gpio2 RK_PB3 GPIO_ACTIVE_HIGH>;
		pwdn-gpios = <&gpio2 RK_PB0 GPIO_ACTIVE_HIGH>;
		rockchip,camera-module-index = <1>;
		rockchip,camera-module-facing = "back";
		rockchip,camera-module-name = "YT10120";
		rockchip,camera-module-lens-name = "30IRC-4M-F20";

		port {
			gc4653_dphy1_out: endpoint {
				remote-endpoint = <&dphy1_in_gc4653>;
				data-lanes = <1 2>;
			};
		};
	};
};

&i2c5 {
	status = "disabled";
	pinctrl-0 = <&i2c5m3_xfer>;

	dw9714_2: dw9714-2@c {
		status = "okay";
		compatible = "dongwoon,dw9714";
		reg = <0xc>;
		rockchip,camera-module-index = <2>;
		rockchip,vcm-max-current = <100>;
		rockchip,vcm-start-current = <0>;
		rockchip,vcm-rated-current = <100>;
		rockchip,vcm-step-mode = <0xd>;
		rockchip,vcm-dlc-enable = <0>;
		rockchip,vcm-mclk = <0>;
		rockchip,vcm-t-src = <0>;
		rockchip,camera-module-facing = "back";
	};

	dcphy2_imx415: dcphy2-imx415@1a {
		compatible = "sony,imx415";
		status = "disabled";
		reg = <0x1a>;
		clocks = <&ext_cam_37m_clk>;
		clock-names = "xvclk";
		power-domains = <&power RK3576_PD_VI>;
		avdd-supply = <&cam_avdd>;
		dovdd-supply = <&cam_dovdd>;
		dvdd-supply = <&cam_dvdd>;
		reset-gpios = <&gpio2 RK_PB5 GPIO_ACTIVE_LOW>;

		rockchip,camera-module-index = <2>;
		rockchip,camera-module-facing = "back";
		rockchip,camera-module-name = "CMK-OT2022-PX1";
		rockchip,camera-module-lens-name = "IR0147-50IRC-8M-F20";
		port {
			imx415_dphy2_out: endpoint {
				remote-endpoint = <&dphy2_in_imx415>;
				data-lanes = <1 2>;
			};
		};
	};

	ov8858_2: ov8858-2@36 {
		compatible = "ovti,ov8858";
		status = "disabled";
		reg = <0x36>;
		clocks = <&ext_cam_24m_clk>;
		clock-names = "xvclk";
		dovdd-supply= <&cam_dovdd>;
		avdd-supply = <&cam_avdd>;
		dvdd-supply = <&cam_dvdd>;
		reset-gpios = <&gpio2 RK_PB5 GPIO_ACTIVE_LOW>;
		pwdn-gpios = <&gpio2 RK_PB4 GPIO_ACTIVE_HIGH>;
		rotation = <180>;

		rockchip,camera-module-index = <2>;
		rockchip,camera-module-facing = "back";
		rockchip,camera-module-name = "HS5885-BNSM1018-V01";
		rockchip,camera-module-lens-name = "default";
		lens-focus = <&dw9714_2>;
		port {
			ov8858_dphy2_out: endpoint {
				remote-endpoint = <&dphy2_in_ov8858>;
				clock-lanes = <0>;
				data-lanes = <1 2>;
			};
		};
	};

	gc08a8_2: gc08a8-2@31 {
		compatible = "galaxycore,gc08a8";
		status = "disabled";
		reg = <0x31>;
		clocks = <&ext_cam_24m_clk>;
		clock-names = "xvclk";
		dovdd-supply= <&cam_dovdd>;
		avdd-supply = <&cam_avdd>;
		dvdd-supply = <&cam_dvdd>;
		reset-gpios = <&gpio2 RK_PB5 GPIO_ACTIVE_LOW>;
		pwdn-gpios = <&gpio2 RK_PB4 GPIO_ACTIVE_HIGH>;
		rockchip,camera-module-index = <2>;
		rockchip,camera-module-facing = "back";
		rockchip,camera-module-name = "YT10120";
		rockchip,camera-module-lens-name = "30IRC-4M-F20";

		port {
			gc08a8_dphy2_out: endpoint {
				remote-endpoint = <&dphy2_in_gc08a8>;
				data-lanes = <1 2>;
			};
		};
	};

	gc2053_2: gc2053-2@37 {
		compatible = "galaxycore,gc2053";
		status = "disabled";
		reg = <0x37>;
		clocks = <&ext_cam_24m_clk>;
		clock-names = "xvclk";
		dovdd-supply= <&cam_dovdd>;
		avdd-supply = <&cam_avdd>;
		dvdd-supply = <&cam_dvdd>;
		reset-gpios = <&gpio2 RK_PB5 GPIO_ACTIVE_LOW>;
		pwdn-gpios = <&gpio2 RK_PB4 GPIO_ACTIVE_LOW>;
		rockchip,camera-module-index = <2>;
		rockchip,camera-module-facing = "back";
		rockchip,camera-module-name = "SIDA205300461";
		rockchip,camera-module-lens-name = "60IRC-F20";

		port {
			gc2053_dphy2_out: endpoint {
				remote-endpoint = <&dphy2_in_gc2053>;
				data-lanes = <1 2>;
			};
		};
	};

	gc4653_2: gc4653-2@29 {
		compatible = "galaxycore,gc4653";
		status = "disabled";
		reg = <0x29>;
		clocks = <&ext_cam_24m_clk>;
		clock-names = "xvclk";
		dovdd-supply= <&cam_dovdd>;
		avdd-supply = <&cam_avdd>;
		dvdd-supply = <&cam_dvdd>;
		reset-gpios = <&gpio2 RK_PB5 GPIO_ACTIVE_HIGH>;
		pwdn-gpios = <&gpio2 RK_PB4 GPIO_ACTIVE_HIGH>;
		rockchip,camera-module-index = <2>;
		rockchip,camera-module-facing = "back";
		rockchip,camera-module-name = "YT10120";
		rockchip,camera-module-lens-name = "30IRC-4M-F20";

		port {
			gc4653_dphy2_out: endpoint {
				remote-endpoint = <&dphy2_in_gc4653>;
				data-lanes = <1 2>;
			};
		};
	};
};

&i2c7 {
	status = "disabled";
	pinctrl-0 = <&i2c7m1_xfer>;

	dw9714_3: dw9714-3@c {
		status = "okay";
		compatible = "dongwoon,dw9714";
		reg = <0xc>;
		rockchip,camera-module-index = <3>;
		rockchip,vcm-max-current = <100>;
		rockchip,vcm-start-current = <0>;
		rockchip,vcm-rated-current = <100>;
		rockchip,vcm-step-mode = <0xd>;
		rockchip,vcm-dlc-enable = <0>;
		rockchip,vcm-mclk = <0>;
		rockchip,vcm-t-src = <0>;
		rockchip,camera-module-facing = "back";
	};

	dcphy3_imx415: dcphy3-imx415@1a {
		compatible = "sony,imx415";
		status = "disabled";
		reg = <0x1a>;
		clocks = <&ext_cam_37m_clk>;
		clock-names = "xvclk";
		power-domains = <&power RK3576_PD_VI>;
		avdd-supply = <&cam_avdd>;
		dovdd-supply = <&cam_dovdd>;
		dvdd-supply = <&cam_dvdd>;
		reset-gpios = <&gpio3 RK_PC7 GPIO_ACTIVE_LOW>;

		rockchip,camera-module-index = <3>;
		rockchip,camera-module-facing = "back";
		rockchip,camera-module-name = "CMK-OT2022-PX1";
		rockchip,camera-module-lens-name = "IR0147-50IRC-8M-F20";
		port {
			imx415_dphy3_out: endpoint {
				remote-endpoint = <&dphy3_in_imx415>;
				data-lanes = <1 2>;
			};
		};
	};

	ov8858_3: ov8858-3@36 {
		compatible = "ovti,ov8858";
		status = "disabled";
		reg = <0x36>;
		clocks = <&ext_cam_24m_clk>;
		clock-names = "xvclk";
		dovdd-supply= <&cam_dovdd>;
		avdd-supply = <&cam_avdd>;
		dvdd-supply = <&cam_dvdd>;
		reset-gpios = <&gpio3 RK_PC7 GPIO_ACTIVE_LOW>;
		pwdn-gpios = <&gpio3 RK_PC6 GPIO_ACTIVE_HIGH>;
		rotation = <180>;

		rockchip,camera-module-index = <3>;
		rockchip,camera-module-facing = "back";
		rockchip,camera-module-name = "HS5885-BNSM1018-V01";
		rockchip,camera-module-lens-name = "default";
		lens-focus = <&dw9714_3>;
		port {
			ov8858_dphy3_out: endpoint {
				remote-endpoint = <&dphy3_in_ov8858>;
				clock-lanes = <0>;
				data-lanes = <1 2>;
			};
		};
	};

	gc08a8_3: gc08a8-3@31 {
		compatible = "galaxycore,gc08a8";
		status = "disabled";
		reg = <0x31>;
		clocks = <&ext_cam_24m_clk>;
		clock-names = "xvclk";
		dovdd-supply= <&cam_dovdd>;
		avdd-supply = <&cam_avdd>;
		dvdd-supply = <&cam_dvdd>;
		reset-gpios = <&gpio3 RK_PC7 GPIO_ACTIVE_LOW>;
		pwdn-gpios = <&gpio3 RK_PC6 GPIO_ACTIVE_HIGH>;
		rockchip,camera-module-index = <3>;
		rockchip,camera-module-facing = "back";
		rockchip,camera-module-name = "YT10120";
		rockchip,camera-module-lens-name = "30IRC-4M-F20";

		port {
			gc08a8_dphy3_out: endpoint {
				remote-endpoint = <&dphy3_in_gc08a8>;
				data-lanes = <1 2>;
			};
		};
	};

	gc2053_3: gc2053-3@37 {
		compatible = "galaxycore,gc2053";
		status = "disabled";
		reg = <0x37>;
		clocks = <&ext_cam_24m_clk>;
		clock-names = "xvclk";
		dovdd-supply= <&cam_dovdd>;
		avdd-supply = <&cam_avdd>;
		dvdd-supply = <&cam_dvdd>;
		reset-gpios = <&gpio3 RK_PC7 GPIO_ACTIVE_LOW>;
		pwdn-gpios = <&gpio3 RK_PC6 GPIO_ACTIVE_LOW>;
		rockchip,camera-module-index = <3>;
		rockchip,camera-module-facing = "back";
		rockchip,camera-module-name = "SIDA205300461";
		rockchip,camera-module-lens-name = "60IRC-F20";

		port {
			gc2053_dphy3_out: endpoint {
				remote-endpoint = <&dphy3_in_gc2053>;
				data-lanes = <1 2>;
			};
		};
	};

	gc4653_3: gc4653-3@29 {
		compatible = "galaxycore,gc4653";
		status = "disabled";
		reg = <0x29>;
		clocks = <&ext_cam_24m_clk>;
		clock-names = "xvclk";
		dovdd-supply= <&cam_dovdd>;
		avdd-supply = <&cam_avdd>;
		dvdd-supply = <&cam_dvdd>;
		reset-gpios = <&gpio3 RK_PC7 GPIO_ACTIVE_HIGH>;
		pwdn-gpios = <&gpio3 RK_PC6 GPIO_ACTIVE_HIGH>;
		rockchip,camera-module-index = <3>;
		rockchip,camera-module-facing = "back";
		rockchip,camera-module-name = "YT10120";
		rockchip,camera-module-lens-name = "30IRC-4M-F20";

		port {
			gc4653_dphy3_out: endpoint {
				remote-endpoint = <&dphy3_in_gc4653>;
				data-lanes = <1 2>;
			};
		};
	};
};

&i2c8 {
	status = "disabled";
	pinctrl-0 = <&i2c8m2_xfer>;

	dw9714_4: dw9714-4@c {
		status = "okay";
		compatible = "dongwoon,dw9714";
		reg = <0xc>;
		rockchip,camera-module-index = <4>;
		rockchip,vcm-max-current = <100>;
		rockchip,vcm-start-current = <0>;
		rockchip,vcm-rated-current = <100>;
		rockchip,vcm-step-mode = <0xd>;
		rockchip,vcm-dlc-enable = <0>;
		rockchip,vcm-mclk = <0>;
		rockchip,vcm-t-src = <0>;
		rockchip,camera-module-facing = "back";
	};

	dcphy4_imx415: dcphy4-imx415@1a {
		compatible = "sony,imx415";
		status = "disabled";
		reg = <0x1a>;
		clocks = <&ext_cam_37m_clk>;
		clock-names = "xvclk";
		power-domains = <&power RK3576_PD_VI>;
		avdd-supply = <&cam_avdd>;
		dovdd-supply = <&cam_dovdd>;
		dvdd-supply = <&cam_dvdd>;
		reset-gpios = <&gpio3 RK_PC0 GPIO_ACTIVE_LOW>;

		rockchip,camera-module-index = <4>;
		rockchip,camera-module-facing = "back";
		rockchip,camera-module-name = "CMK-OT2022-PX1";
		rockchip,camera-module-lens-name = "IR0147-50IRC-8M-F20";
		port {
			imx415_dphy4_out: endpoint {
				remote-endpoint = <&dphy4_in_imx415>;
				data-lanes = <1 2>;
			};
		};
	};

	ov8858_4: ov8858-4@36 {
		compatible = "ovti,ov8858";
		status = "disabled";
		reg = <0x36>;
		clocks = <&ext_cam_24m_clk>;
		clock-names = "xvclk";
		dovdd-supply= <&cam_dovdd>;
		avdd-supply = <&cam_avdd>;
		dvdd-supply = <&cam_dvdd>;
		reset-gpios = <&gpio3 RK_PC0 GPIO_ACTIVE_LOW>;
		pwdn-gpios = <&gpio1 RK_PD4 GPIO_ACTIVE_HIGH>;
		rotation = <180>;

		rockchip,camera-module-index = <4>;
		rockchip,camera-module-facing = "back";
		rockchip,camera-module-name = "HS5885-BNSM1018-V01";
		rockchip,camera-module-lens-name = "default";
		lens-focus = <&dw9714_4>;
		port {
			ov8858_dphy4_out: endpoint {
				remote-endpoint = <&dphy4_in_ov8858>;
				clock-lanes = <0>;
				data-lanes = <1 2>;
			};
		};
	};

	gc08a8_4: gc08a8-4@31 {
		compatible = "galaxycore,gc08a8";
		status = "disabled";
		reg = <0x31>;
		clocks = <&ext_cam_24m_clk>;
		clock-names = "xvclk";
		dovdd-supply= <&cam_dovdd>;
		avdd-supply = <&cam_avdd>;
		dvdd-supply = <&cam_dvdd>;
		reset-gpios = <&gpio3 RK_PC0 GPIO_ACTIVE_LOW>;
		pwdn-gpios = <&gpio1 RK_PD4 GPIO_ACTIVE_HIGH>;
		rockchip,camera-module-index = <4>;
		rockchip,camera-module-facing = "back";
		rockchip,camera-module-name = "YT10120";
		rockchip,camera-module-lens-name = "30IRC-4M-F20";

		port {
			gc08a8_dphy4_out: endpoint {
				remote-endpoint = <&dphy4_in_gc08a8>;
				data-lanes = <1 2>;
			};
		};
	};

	gc2053_4: gc2053-4@37 {
		compatible = "galaxycore,gc2053";
		status = "disabled";
		reg = <0x37>;
		clocks = <&ext_cam_24m_clk>;
		clock-names = "xvclk";
		dovdd-supply= <&cam_dovdd>;
		avdd-supply = <&cam_avdd>;
		dvdd-supply = <&cam_dvdd>;
		reset-gpios = <&gpio3 RK_PC0 GPIO_ACTIVE_LOW>;
		pwdn-gpios = <&gpio1 RK_PD4 GPIO_ACTIVE_LOW>;
		rockchip,camera-module-index = <4>;
		rockchip,camera-module-facing = "back";
		rockchip,camera-module-name = "SIDA205300461";
		rockchip,camera-module-lens-name = "60IRC-F20";

		port {
			gc2053_dphy4_out: endpoint {
				remote-endpoint = <&dphy4_in_gc2053>;
				data-lanes = <1 2>;
			};
		};
	};

	gc4653_4: gc4653-4@29 {
		compatible = "galaxycore,gc4653";
		status = "disabled";
		reg = <0x29>;
		clocks = <&ext_cam_24m_clk>;
		clock-names = "xvclk";
		dovdd-supply= <&cam_dovdd>;
		avdd-supply = <&cam_avdd>;
		dvdd-supply = <&cam_dvdd>;
		reset-gpios = <&gpio3 RK_PC0 GPIO_ACTIVE_HIGH>;
		pwdn-gpios = <&gpio1 RK_PD4 GPIO_ACTIVE_HIGH>;
		rockchip,camera-module-index = <4>;
		rockchip,camera-module-facing = "back";
		rockchip,camera-module-name = "YT10120";
		rockchip,camera-module-lens-name = "30IRC-4M-F20";

		port {
			gc4653_dphy4_out: endpoint {
				remote-endpoint = <&dphy4_in_gc4653>;
				data-lanes = <1 2>;
			};
		};
	};
};

&mipi0_csi2 {
	status = "disabled";

	ports {
		#address-cells = <1>;
		#size-cells = <0>;

		port@0 {
			reg = <0>;
			#address-cells = <1>;
			#size-cells = <0>;

			mipi0_csi2_input: endpoint@1 {
				reg = <1>;
				remote-endpoint = <&csidcphy0_out>;
			};
		};

		port@1 {
			reg = <1>;
			#address-cells = <1>;
			#size-cells = <0>;

			mipi0_csi2_output: endpoint@0 {
				reg = <0>;
				remote-endpoint = <&cif_mipi_in0>;
			};
		};
	};
};

&rkcif_mipi_lvds {
	status = "disabled";

	port {
		cif_mipi_in0: endpoint {
			remote-endpoint = <&mipi0_csi2_output>;
		};
	};
};

&rkcif_mipi_lvds_sditf {
	status = "disabled";

	port {
		mipi_lvds_sditf: endpoint {
			remote-endpoint = <&isp_vir0>;
		};
	};
};

&rkisp_vir0 {
	status = "disabled";

	port {
		#address-cells = <1>;
		#size-cells = <0>;

		isp_vir0: endpoint@0 {
			reg = <0>;
			remote-endpoint = <&mipi_lvds_sditf>;
		};
	};
};

&rkisp_vir0_sditf {
	status = "disabled";
};

&rkvpss_vir0 {
	status = "disabled";
};

&mipi1_csi2 {
	status = "disabled";

	ports {
		#address-cells = <1>;
		#size-cells = <0>;

		port@0 {
			reg = <0>;
			#address-cells = <1>;
			#size-cells = <0>;

			mipi1_csi2_input: endpoint@1 {
				reg = <1>;
				remote-endpoint = <&csidphy1_out>;
			};
		};

		port@1 {
			reg = <1>;
			#address-cells = <1>;
			#size-cells = <0>;

			mipi1_csi2_output: endpoint@0 {
				reg = <0>;
				remote-endpoint = <&cif_mipi_in1>;
			};
		};
	};
};

&mipi2_csi2 {
	status = "disabled";

	ports {
		#address-cells = <1>;
		#size-cells = <0>;

		port@0 {
			reg = <0>;
			#address-cells = <1>;
			#size-cells = <0>;

			mipi2_csi2_input: endpoint@1 {
				reg = <1>;
				remote-endpoint = <&csidphy2_out>;
			};
		};

		port@1 {
			reg = <1>;
			#address-cells = <1>;
			#size-cells = <0>;

			mipi2_csi2_output: endpoint@0 {
				reg = <0>;
				remote-endpoint = <&cif_mipi_in2>;
			};
		};
	};
};

&mipi3_csi2 {
	status = "disabled";

	ports {
		#address-cells = <1>;
		#size-cells = <0>;

		port@0 {
			reg = <0>;
			#address-cells = <1>;
			#size-cells = <0>;

			mipi3_csi2_input: endpoint@1 {
				reg = <1>;
				remote-endpoint = <&csidphy3_out>;
			};
		};

		port@1 {
			reg = <1>;
			#address-cells = <1>;
			#size-cells = <0>;

			mipi3_csi2_output: endpoint@0 {
				reg = <0>;
				remote-endpoint = <&cif_mipi_in3>;
			};
		};
	};
};

&mipi4_csi2 {
	status = "disabled";

	ports {
		#address-cells = <1>;
		#size-cells = <0>;

		port@0 {
			reg = <0>;
			#address-cells = <1>;
			#size-cells = <0>;

			mipi4_csi2_input: endpoint@1 {
				reg = <1>;
				remote-endpoint = <&csidphy4_out>;
			};
		};

		port@1 {
			reg = <1>;
			#address-cells = <1>;
			#size-cells = <0>;

			mipi4_csi2_output: endpoint@0 {
				reg = <0>;
				remote-endpoint = <&cif_mipi_in4>;
			};
		};
	};
};

&rkcif_mipi_lvds1 {
	status = "disabled";

	port {
		cif_mipi_in1: endpoint {
			remote-endpoint = <&mipi1_csi2_output>;
		};
	};
};

&rkcif_mipi_lvds1_sditf {
	status = "disabled";

	port {
		mipi1_lvds_sditf: endpoint {
			remote-endpoint = <&isp_vir1>;
		};
	};
};

&rkcif_mipi_lvds2 {
	status = "disabled";

	port {
		cif_mipi_in2: endpoint {
			remote-endpoint = <&mipi2_csi2_output>;
		};
	};
};

&rkcif_mipi_lvds2_sditf {
	status = "disabled";

	port {
		mipi2_lvds_sditf: endpoint {
			remote-endpoint = <&isp_vir2>;
		};
	};
};

&rkcif_mipi_lvds3 {
	status = "disabled";

	port {
		cif_mipi_in3: endpoint {
			remote-endpoint = <&mipi3_csi2_output>;
		};
	};
};

&rkcif_mipi_lvds3_sditf {
	status = "disabled";

	port {
		mipi3_lvds_sditf: endpoint {
			remote-endpoint = <&isp_vir3>;
		};
	};
};

&rkcif_mipi_lvds4 {
	status = "disabled";

	port {
		cif_mipi_in4: endpoint {
			remote-endpoint = <&mipi4_csi2_output>;
		};
	};
};

&rkcif_mipi_lvds4_sditf {
	status = "disabled";

	port {
		mipi4_lvds_sditf: endpoint {
			remote-endpoint = <&isp_vir4>;
		};
	};
};

&rkisp_vir1 {
	status = "disabled";

	port {
		#address-cells = <1>;
		#size-cells = <0>;

		isp_vir1: endpoint@0 {
			reg = <0>;
			remote-endpoint = <&mipi1_lvds_sditf>;
		};
	};
};

&rkisp_vir2 {
	status = "disabled";

	port {
		#address-cells = <1>;
		#size-cells = <0>;

		isp_vir2: endpoint@0 {
			reg = <0>;
			remote-endpoint = <&mipi2_lvds_sditf>;
		};
	};
};

&rkisp_vir3 {
	status = "disabled";

	port {
		#address-cells = <1>;
		#size-cells = <0>;

		isp_vir3: endpoint@0 {
			reg = <0>;
			remote-endpoint = <&mipi3_lvds_sditf>;
		};
	};
};

&rkisp_vir4 {
	status = "disabled";

	port {
		#address-cells = <1>;
		#size-cells = <0>;

		isp_vir4: endpoint@0 {
			reg = <0>;
			remote-endpoint = <&mipi4_lvds_sditf>;
		};
	};
};

&rkisp_vir1_sditf {
	status = "disabled";
};

&rkisp_vir2_sditf {
	status = "disabled";
};

&rkisp_vir3_sditf {
	status = "disabled";
};

&rkisp_vir4_sditf {
	status = "disabled";
};

&rkvpss_vir1 {
	status = "disabled";
};

&rkvpss_vir2 {
	status = "disabled";
};

&rkvpss_vir3 {
	status = "disabled";
};

&rkvpss_vir4 {
	status = "disabled";
};

&rkcif {
	status = "disabled";
};

&rkcif_mmu {
	status = "disabled";
};

&rkisp {
	status = "disabled";
};

&rkisp_mmu {
	status = "disabled";
};

&rkvpss {
	status = "disabled";
};

&rkvpss_mmu {
	status = "disabled";
};

&fiq_debugger {
	status = "disabled";
};

&uart0 {
	status = "okay";
};
